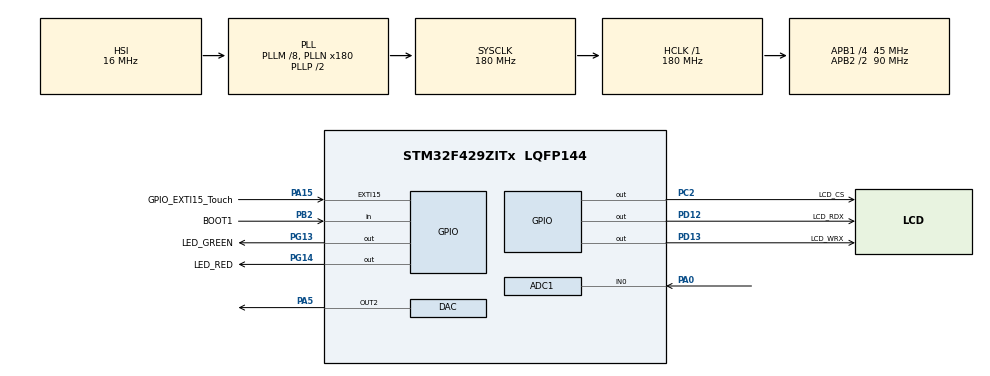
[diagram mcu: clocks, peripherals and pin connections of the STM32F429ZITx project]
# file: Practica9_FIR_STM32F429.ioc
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ADC1.Channel-0\#ChannelRegularConversion=ADC_CHANNEL_0
ADC1.ContinuousConvMode=DISABLE
ADC1.NbrOfConversionFlag=1
ADC1.Rank-0\#ChannelRegularConversion=1
ADC1.SamplingTime-0\#ChannelRegularConversion=ADC_SAMPLETIME_3CYCLES
ADC1.master=1
DAC.DAC_OutputBuffer2=DAC_OUTPUTBUFFER_ENABLE
DAC.DAC_Trigger2=DAC_TRIGGER_NONE
Mcu.Family=STM32F4
Mcu.Name=STM32F429ZITx
Mcu.Package=LQFP144
NVIC.EXTI15_10_IRQn=true\:0\:0\:false\:false\:true\:true\:true\:true
NVIC.PriorityGroup=NVIC_PRIORITYGROUP_4
NVIC.TIM3_IRQn=true\:0\:0\:false\:false\:true\:true\:true\:true
PA0/WKUP.Signal=ADCx_IN0
PA13.Signal=SYS_JTMS-SWDIO
PA14.Signal=SYS_JTCK-SWCLK
PA15.GPIO_Label=GPIO_EXTI15_Touch
PA15.GPIO_ModeDefaultEXTI=GPIO_MODE_IT_FALLING
PA15.GPIO_PuPd=GPIO_PULLUP
PA15.Signal=GPXTI15
PA4.Signal=COMP_DAC1_group
PA5.Signal=COMP_DAC2_group
PA8.GPIO_Speed=GPIO_SPEED_FREQ_HIGH
PA8.Signal=I2C3_SCL
PB2/BOOT1.GPIO_Label=BOOT1
PB2/BOOT1.GPIO_PuPd=GPIO_PULLUP
PB2/BOOT1.Signal=GPIO_Input
PC2.GPIO_Label=LCD_CS
PC2.GPIO_Speed=GPIO_SPEED_FREQ_VERY_HIGH
PC2.PinState=GPIO_PIN_SET
PC2.Signal=GPIO_Output
PC9.GPIO_Speed=GPIO_SPEED_FREQ_HIGH
PC9.Signal=I2C3_SDA
PD12.GPIO_Label=LCD_RDX
PD12.GPIO_Speed=GPIO_SPEED_FREQ_VERY_HIGH
PD12.Signal=GPIO_Output
PD13.GPIO_Label=LCD_WRX
PD13.GPIO_Speed=GPIO_SPEED_FREQ_VERY_HIGH
PD13.Signal=GPIO_Output
PF7.Signal=SPI5_SCK
PF8.Signal=SPI5_MISO
PF9.Signal=SPI5_MOSI
PG13.GPIO_Label=LED_GREEN
PG13.Signal=GPIO_Output
PG14.GPIO_Label=LED_RED
PG14.Signal=GPIO_Output
PH0/OSC_IN.Mode=HSE-External-Oscillator
PH0/OSC_IN.Signal=RCC_OSC_IN
PH1/OSC_OUT.Mode=HSE-External-Oscillator
PH1/OSC_OUT.Signal=RCC_OSC_OUT
ProjectManager.HeapSize=0x200
ProjectManager.StackSize=0x400
ProjectManager.TargetToolchain=STM32CubeIDE
RCC.48MHZClocksFreq_Value=90000000
RCC.AHBFreq_Value=180000000
RCC.APB1CLKDivider=RCC_HCLK_DIV4
RCC.APB1Freq_Value=45000000
RCC.APB1TimFreq_Value=90000000
RCC.APB2CLKDivider=RCC_HCLK_DIV2
RCC.APB2Freq_Value=90000000
RCC.APB2TimFreq_Value=180000000
RCC.CortexFreq_Value=180000000
RCC.HCLKFreq_Value=180000000
RCC.HSE_VALUE=8000000
RCC.HSI_VALUE=16000000
RCC.LSE_VALUE=32768
RCC.PLLM=8
RCC.PLLN=180
RCC.SYSCLKFreq_VALUE=180000000
RCC.SYSCLKSource=RCC_SYSCLKSOURCE_PLLCLK
RCC.VCOOutputFreq_Value=360000000
SH.ADCx_IN0.0=ADC1_IN0,IN0
SH.COMP_DAC1_group.0=DAC_OUT1
SH.COMP_DAC2_group.0=DAC_OUT2,DAC_OUT2
TIM3.Period=731
TIM3.Prescaler=5
VP_TIM3_VS_ClockSourceINT.Mode=Internal
board=custom

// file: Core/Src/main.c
/* USER CODE BEGIN Header */
/**
  ******************************************************************************
  * @file           : main.c
  * @brief          : Main program body
  ******************************************************************************
  * @attention
  *
  * Copyright (c) 2022 STMicroelectronics.
  * All rights reserved.
  *
  * This software is licensed under terms that can be found in the LICENSE file
  * in the root directory of this software component.
  * If no LICENSE file comes with this software, it is provided AS-IS.
  *
  ******************************************************************************
  */
/* USER CODE END Header */
#include "main.h"

/* USER CODE BEGIN Includes */
#include <stdbool.h>
#include <stdio.h>
#include <stdlib.h>
#include <string.h>
#include <math.h>
/* USER CODE END Includes */

ADC_HandleTypeDef hadc1;

DAC_HandleTypeDef hdac;

TIM_HandleTypeDef htim3;

void SystemClock_Config(void);
static void MX_GPIO_Init(void);
static void MX_ADC1_Init(void);
static void MX_DAC_Init(void);
static void MX_TIM3_Init(void);

/* USER CODE BEGIN 0 */

//----------- TOUCH ------------------------------------------------------------
uint16_t TP_X;
uint16_t TP_Y;

//----------- VARIABLES DE USUARIO -------------------------
float PI = 3.1415926535897932384626433832795;
int i=0,j=0,k=0;
long yt=0,auxL=0;			//Salida del filtro
uint16_t L=0,L2=0;					//auxiliar
int ITboton=0;				//bandera para interrupción del touch
long senal[50];				// vector de muestras

//coeficientes de los filtros
long B[16]  ={ 0, 0, 0, 0, 0, 0, 0, 10000, 0, 0, 0, 0, 0, 0, 0, 0 }; //normal
//-------------- Interrupcion del TIM3 20KHz ---------------------------
void HAL_TIM_PeriodElapsedCallback(TIM_HandleTypeDef *htim)
{
	yt=0;
	for(k=15;k>0;k--)		    			//% obtener convolucion
	{
		senal[k]=senal[k-1]; 				//buffer circular
		yt   = yt   + senal[k]*B[k]; 		//n=32,33,..., ultima
	}

	HAL_ADC_Start(&hadc1);
	HAL_ADC_PollForConversion(&hadc1, 100);
	senal[0]=HAL_ADC_GetValue(&hadc1)-2048;	//ADC-2048;
	yt   = yt   + senal[0]*B[0]; 			//nueva n=0

	auxL= yt/10000+2048;
	HAL_DAC_SetValue(&hdac, DAC_CHANNEL_2, DAC_ALIGN_12B_R,auxL);

	L2++;
	if(L2==10000){L2=0; HAL_GPIO_TogglePin(LED_RED_GPIO_Port, LED_RED_Pin);}
}

/* USER CODE END 0 */

int main(void)
{

  /* MCU Configuration--------------------------------------------------------*/

  /* Reset of all peripherals, Initializes the Flash interface and the Systick. */
  HAL_Init();

  /* Configure the system clock */
  SystemClock_Config();

  /* Initialize all configured peripherals */
  MX_GPIO_Init();
  MX_ADC1_Init();
  MX_DAC_Init();
  MX_TIM3_Init();
  /* USER CODE BEGIN 2 */

  //preparar para borrado de linea
  for(i=0;i<15;i++)
  {
	  senal[i]=0;
  }
  HAL_DAC_Start(&hdac, DAC_CHANNEL_2); 		//Inicializar DAC CH2
  HAL_TIM_Base_Start_IT(&htim3);			//inicializa interrupciones de overflow del timer3

  /* USER CODE END 2 */

  /* Infinite loop */
  while (1)
  {
	  }

  }

void SystemClock_Config(void)
{
  RCC_OscInitTypeDef RCC_OscInitStruct = {0};
  RCC_ClkInitTypeDef RCC_ClkInitStruct = {0};

  /** Configure the main internal regulator output voltage
  */
  __HAL_RCC_PWR_CLK_ENABLE();
  __HAL_PWR_VOLTAGESCALING_CONFIG(PWR_REGULATOR_VOLTAGE_SCALE1);

  /** Initializes the RCC Oscillators according to the specified parameters
  * in the RCC_OscInitTypeDef structure.
  */
  RCC_OscInitStruct.OscillatorType = RCC_OSCILLATORTYPE_HSI;
  RCC_OscInitStruct.HSIState = RCC_HSI_ON;
  RCC_OscInitStruct.HSICalibrationValue = RCC_HSICALIBRATION_DEFAULT;
  RCC_OscInitStruct.PLL.PLLState = RCC_PLL_ON;
  RCC_OscInitStruct.PLL.PLLSource = RCC_PLLSOURCE_HSI;
  RCC_OscInitStruct.PLL.PLLM = 8;
  RCC_OscInitStruct.PLL.PLLN = 180;
  RCC_OscInitStruct.PLL.PLLP = RCC_PLLP_DIV2;
  RCC_OscInitStruct.PLL.PLLQ = 4;
  if (HAL_RCC_OscConfig(&RCC_OscInitStruct) != HAL_OK)
  {
    Error_Handler();
  }

  /** Activate the Over-Drive mode
  */
  if (HAL_PWREx_EnableOverDrive() != HAL_OK)
  {
    Error_Handler();
  }

  /** Initializes the CPU, AHB and APB buses clocks
  */
  RCC_ClkInitStruct.ClockType = RCC_CLOCKTYPE_HCLK|RCC_CLOCKTYPE_SYSCLK
                              |RCC_CLOCKTYPE_PCLK1|RCC_CLOCKTYPE_PCLK2;
  RCC_ClkInitStruct.SYSCLKSource = RCC_SYSCLKSOURCE_PLLCLK;
  RCC_ClkInitStruct.AHBCLKDivider = RCC_SYSCLK_DIV1;
  RCC_ClkInitStruct.APB1CLKDivider = RCC_HCLK_DIV4;
  RCC_ClkInitStruct.APB2CLKDivider = RCC_HCLK_DIV2;

  if (HAL_RCC_ClockConfig(&RCC_ClkInitStruct, FLASH_LATENCY_5) != HAL_OK)
  {
    Error_Handler();
  }
}

static void MX_ADC1_Init(void)
{

  ADC_ChannelConfTypeDef sConfig = {0};

  /** Configure the global features of the ADC (Clock, Resolution, Data Alignment and number of conversion)
  */
  hadc1.Instance = ADC1;
  hadc1.Init.ClockPrescaler = ADC_CLOCK_SYNC_PCLK_DIV4;
  hadc1.Init.Resolution = ADC_RESOLUTION_12B;
  hadc1.Init.ScanConvMode = DISABLE;
  hadc1.Init.ContinuousConvMode = DISABLE;
  hadc1.Init.DiscontinuousConvMode = DISABLE;
  hadc1.Init.ExternalTrigConvEdge = ADC_EXTERNALTRIGCONVEDGE_NONE;
  hadc1.Init.ExternalTrigConv = ADC_SOFTWARE_START;
  hadc1.Init.DataAlign = ADC_DATAALIGN_RIGHT;
  hadc1.Init.NbrOfConversion = 1;
  hadc1.Init.DMAContinuousRequests = DISABLE;
  hadc1.Init.EOCSelection = ADC_EOC_SINGLE_CONV;
  if (HAL_ADC_Init(&hadc1) != HAL_OK)
  {
    Error_Handler();
  }

  /** Configure for the selected ADC regular channel its corresponding rank in the sequencer and its sample time.
  */
  sConfig.Channel = ADC_CHANNEL_0;
  sConfig.Rank = 1;
  sConfig.SamplingTime = ADC_SAMPLETIME_3CYCLES;
  if (HAL_ADC_ConfigChannel(&hadc1, &sConfig) != HAL_OK)
  {
    Error_Handler();
  }

}

static void MX_DAC_Init(void)
{

  DAC_ChannelConfTypeDef sConfig = {0};

  /** DAC Initialization
  */
  hdac.Instance = DAC;
  if (HAL_DAC_Init(&hdac) != HAL_OK)
  {
    Error_Handler();
  }

  /** DAC channel OUT2 config
  */
  sConfig.DAC_Trigger = DAC_TRIGGER_NONE;
  sConfig.DAC_OutputBuffer = DAC_OUTPUTBUFFER_ENABLE;
  if (HAL_DAC_ConfigChannel(&hdac, &sConfig, DAC_CHANNEL_2) != HAL_OK)
  {
    Error_Handler();
  }

}

static void MX_TIM3_Init(void)
{

  TIM_ClockConfigTypeDef sClockSourceConfig = {0};
  TIM_MasterConfigTypeDef sMasterConfig = {0};

  htim3.Instance = TIM3;
  htim3.Init.Prescaler = 5;
  htim3.Init.CounterMode = TIM_COUNTERMODE_UP;
  htim3.Init.Period = 731;
  htim3.Init.ClockDivision = TIM_CLOCKDIVISION_DIV1;
  htim3.Init.AutoReloadPreload = TIM_AUTORELOAD_PRELOAD_DISABLE;
  if (HAL_TIM_Base_Init(&htim3) != HAL_OK)
  {
    Error_Handler();
  }
  sClockSourceConfig.ClockSource = TIM_CLOCKSOURCE_INTERNAL;
  if (HAL_TIM_ConfigClockSource(&htim3, &sClockSourceConfig) != HAL_OK)
  {
    Error_Handler();
  }
  sMasterConfig.MasterOutputTrigger = TIM_TRGO_RESET;
  sMasterConfig.MasterSlaveMode = TIM_MASTERSLAVEMODE_DISABLE;
  if (HAL_TIMEx_MasterConfigSynchronization(&htim3, &sMasterConfig) != HAL_OK)
  {
    Error_Handler();
  }

}

static void MX_GPIO_Init(void)
{
  GPIO_InitTypeDef GPIO_InitStruct = {0};

  /* GPIO Ports Clock Enable */
  __HAL_RCC_GPIOF_CLK_ENABLE();
  __HAL_RCC_GPIOH_CLK_ENABLE();
  __HAL_RCC_GPIOC_CLK_ENABLE();
  __HAL_RCC_GPIOA_CLK_ENABLE();
  __HAL_RCC_GPIOB_CLK_ENABLE();
  __HAL_RCC_GPIOD_CLK_ENABLE();
  __HAL_RCC_GPIOG_CLK_ENABLE();

  /*Configure GPIO pin Output Level */
  HAL_GPIO_WritePin(LCD_CS_GPIO_Port, LCD_CS_Pin, GPIO_PIN_SET);

  /*Configure GPIO pin Output Level */
  HAL_GPIO_WritePin(GPIOD, LCD_RDX_Pin|LCD_WRX_Pin, GPIO_PIN_RESET);

  /*Configure GPIO pin Output Level */
  HAL_GPIO_WritePin(GPIOG, LED_GREEN_Pin|LED_RED_Pin, GPIO_PIN_RESET);

  /*Configure GPIO pins : PF7 PF8 PF9 */
  GPIO_InitStruct.Pin = GPIO_PIN_7|GPIO_PIN_8|GPIO_PIN_9;
  GPIO_InitStruct.Mode = GPIO_MODE_AF_PP;
  GPIO_InitStruct.Pull = GPIO_NOPULL;
  GPIO_InitStruct.Speed = GPIO_SPEED_FREQ_VERY_HIGH;
  GPIO_InitStruct.Alternate = GPIO_AF5_SPI5;
  HAL_GPIO_Init(GPIOF, &GPIO_InitStruct);

  /*Configure GPIO pin : LCD_CS_Pin */
  GPIO_InitStruct.Pin = LCD_CS_Pin;
  GPIO_InitStruct.Mode = GPIO_MODE_OUTPUT_PP;
  GPIO_InitStruct.Pull = GPIO_NOPULL;
  GPIO_InitStruct.Speed = GPIO_SPEED_FREQ_VERY_HIGH;
  HAL_GPIO_Init(LCD_CS_GPIO_Port, &GPIO_InitStruct);

  /*Configure GPIO pin : BOOT1_Pin */
  GPIO_InitStruct.Pin = BOOT1_Pin;
  GPIO_InitStruct.Mode = GPIO_MODE_INPUT;
  GPIO_InitStruct.Pull = GPIO_PULLUP;
  HAL_GPIO_Init(BOOT1_GPIO_Port, &GPIO_InitStruct);

  /*Configure GPIO pins : LCD_RDX_Pin LCD_WRX_Pin */
  GPIO_InitStruct.Pin = LCD_RDX_Pin|LCD_WRX_Pin;
  GPIO_InitStruct.Mode = GPIO_MODE_OUTPUT_PP;
  GPIO_InitStruct.Pull = GPIO_NOPULL;
  GPIO_InitStruct.Speed = GPIO_SPEED_FREQ_VERY_HIGH;
  HAL_GPIO_Init(GPIOD, &GPIO_InitStruct);

  /*Configure GPIO pin : PC9 */
  GPIO_InitStruct.Pin = GPIO_PIN_9;
  GPIO_InitStruct.Mode = GPIO_MODE_AF_OD;
  GPIO_InitStruct.Pull = GPIO_NOPULL;
  GPIO_InitStruct.Speed = GPIO_SPEED_FREQ_HIGH;
  GPIO_InitStruct.Alternate = GPIO_AF4_I2C3;
  HAL_GPIO_Init(GPIOC, &GPIO_InitStruct);

  /*Configure GPIO pin : PA8 */
  GPIO_InitStruct.Pin = GPIO_PIN_8;
  GPIO_InitStruct.Mode = GPIO_MODE_AF_OD;
  GPIO_InitStruct.Pull = GPIO_NOPULL;
  GPIO_InitStruct.Speed = GPIO_SPEED_FREQ_HIGH;
  GPIO_InitStruct.Alternate = GPIO_AF4_I2C3;
  HAL_GPIO_Init(GPIOA, &GPIO_InitStruct);

  /*Configure GPIO pin : GPIO_EXTI15_Touch_Pin */
  GPIO_InitStruct.Pin = GPIO_EXTI15_Touch_Pin;
  GPIO_InitStruct.Mode = GPIO_MODE_IT_FALLING;
  GPIO_InitStruct.Pull = GPIO_PULLUP;
  HAL_GPIO_Init(GPIO_EXTI15_Touch_GPIO_Port, &GPIO_InitStruct);

  /*Configure GPIO pins : LED_GREEN_Pin LED_RED_Pin */
  GPIO_InitStruct.Pin = LED_GREEN_Pin|LED_RED_Pin;
  GPIO_InitStruct.Mode = GPIO_MODE_OUTPUT_PP;
  GPIO_InitStruct.Pull = GPIO_NOPULL;
  GPIO_InitStruct.Speed = GPIO_SPEED_FREQ_LOW;
  HAL_GPIO_Init(GPIOG, &GPIO_InitStruct);

  /* EXTI interrupt init*/
  HAL_NVIC_SetPriority(EXTI15_10_IRQn, 0, 0);
  HAL_NVIC_EnableIRQ(EXTI15_10_IRQn);

}

void Error_Handler(void)
{
  __disable_irq();
  while (1)
  {
  }
}
